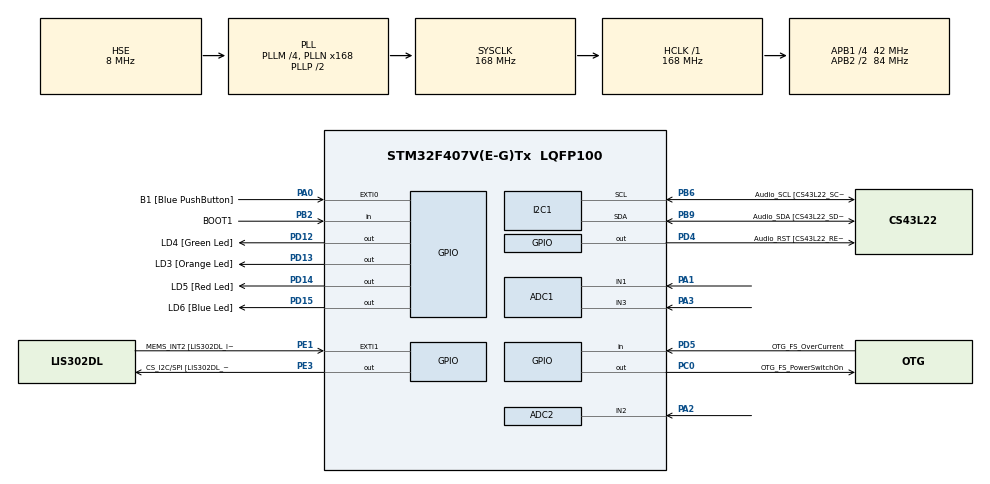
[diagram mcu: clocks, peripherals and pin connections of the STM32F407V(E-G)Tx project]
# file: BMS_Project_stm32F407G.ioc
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ADC1.Channel-0\#ChannelRegularConversion=ADC_CHANNEL_1
ADC1.ContinuousConvMode=DISABLE
ADC1.DMAAccessMode=ADC_DMAACCESSMODE_2
ADC1.DMAContinuousRequests=ENABLE
ADC1.ExternalTrigConv=ADC_EXTERNALTRIGCONV_T2_TRGO
ADC1.Mode=ADC_DUALMODE_REGSIMULT
ADC1.NbrOfConversion=1
ADC1.NbrOfConversionFlag=1
ADC1.Rank-0\#ChannelRegularConversion=1
ADC1.SamplingTime-0\#ChannelRegularConversion=ADC_SAMPLETIME_56CYCLES
ADC1.ScanConvMode=DISABLE
ADC1.master=1
ADC2.Channel-0\#ChannelRegularConversion=ADC_CHANNEL_2
ADC2.DMAAccessMode=ADC_DMAACCESSMODE_2
ADC2.Mode=ADC_DUALMODE_REGSIMULT
ADC2.NbrOfConversionFlag=1
ADC2.Rank-0\#ChannelRegularConversion=1
ADC2.SamplingTime-0\#ChannelRegularConversion=ADC_SAMPLETIME_56CYCLES
Dma.ADC1.0.Direction=DMA_PERIPH_TO_MEMORY
Dma.ADC1.0.FIFOMode=DMA_FIFOMODE_DISABLE
Dma.ADC1.0.Instance=DMA2_Stream0
Dma.ADC1.0.MemDataAlignment=DMA_MDATAALIGN_WORD
Dma.ADC1.0.MemInc=DMA_MINC_ENABLE
Dma.ADC1.0.Mode=DMA_CIRCULAR
Dma.ADC1.0.PeriphDataAlignment=DMA_PDATAALIGN_WORD
Dma.ADC1.0.PeriphInc=DMA_PINC_DISABLE
Dma.ADC1.0.Priority=DMA_PRIORITY_LOW
Dma.Request0=ADC1
I2C1.I2C_Mode=I2C_Standard
Mcu.Family=STM32F4
Mcu.Name=STM32F407V(E-G)Tx
Mcu.Package=LQFP100
NVIC.DMA2_Stream0_IRQn=true\:0\:0\:false\:false\:true\:false\:true\:true
NVIC.PriorityGroup=NVIC_PRIORITYGROUP_4
PA0-WKUP.GPIO_Label=B1 [Blue PushButton]
PA0-WKUP.Signal=GPXTI0
PA1.Signal=ADCx_IN1
PA10.GPIO_Label=OTG_FS_ID
PA10.GPIO_Mode=GPIO_MODE_AF_PP
PA10.GPIO_PuPd=GPIO_NOPULL
PA10.GPIO_Speed=GPIO_SPEED_FREQ_LOW
PA10.Signal=USB_OTG_FS_ID
PA11.GPIO_Label=OTG_FS_DM
PA11.GPIO_Mode=GPIO_MODE_AF_PP
PA11.GPIO_PuPd=GPIO_NOPULL
PA11.GPIO_Speed=GPIO_SPEED_FREQ_LOW
PA11.Signal=USB_OTG_FS_DM
PA12.GPIO_Label=OTG_FS_DP
PA12.GPIO_Mode=GPIO_MODE_AF_PP
PA12.GPIO_PuPd=GPIO_NOPULL
PA12.GPIO_Speed=GPIO_SPEED_FREQ_LOW
PA12.Signal=USB_OTG_FS_DP
PA13.GPIO_Label=SWDIO
PA13.Mode=Serial_Wire
PA13.Signal=SYS_JTMS-SWDIO
PA14.GPIO_Label=SWCLK
PA14.Mode=Serial_Wire
PA14.Signal=SYS_JTCK-SWCLK
PA2.Signal=ADCx_IN2
PA3.Signal=ADCx_IN3
PA4.GPIO_Label=I2S3_WS [CS43L22_LRCK]
PA4.GPIO_Mode=GPIO_MODE_AF_PP
PA4.GPIO_PuPd=GPIO_NOPULL
PA4.GPIO_Speed=GPIO_SPEED_FREQ_LOW
PA4.Signal=I2S3_WS
PA5.GPIO_Label=SPI1_SCK [LIS302DL_SCL/SPC]
PA5.GPIO_Mode=GPIO_MODE_AF_PP
PA5.GPIO_PuPd=GPIO_NOPULL
PA5.GPIO_Speed=GPIO_SPEED_FREQ_LOW
PA5.Signal=SPI1_SCK
PA6.GPIO_Label=SPI1_MISO [LIS302DL_SDO]
PA6.GPIO_Mode=GPIO_MODE_AF_PP
PA6.GPIO_PuPd=GPIO_NOPULL
PA6.GPIO_Speed=GPIO_SPEED_FREQ_LOW
PA6.Signal=SPI1_MISO
PA7.GPIO_Label=SPI1_MOSI [LIS302DL_SDA/SDI/SDO]
PA7.GPIO_Mode=GPIO_MODE_AF_PP
PA7.GPIO_PuPd=GPIO_NOPULL
PA7.GPIO_Speed=GPIO_SPEED_FREQ_LOW
PA7.Signal=SPI1_MOSI
PA9.GPIO_Label=VBUS_FS
PA9.GPIO_Mode=GPIO_MODE_INPUT
PA9.GPIO_PuPd=GPIO_NOPULL
PA9.Signal=USB_OTG_FS_VBUS
PB10.GPIO_Label=CLK_IN [MP45DT02_CLK]
PB10.GPIO_Mode=GPIO_MODE_AF_PP
PB10.GPIO_PuPd=GPIO_NOPULL
PB10.GPIO_Speed=GPIO_SPEED_FREQ_LOW
PB10.Signal=I2S2_CK
PB2.GPIO_Label=BOOT1
PB2.GPIO_Mode=GPIO_MODE_INPUT
PB2.GPIO_PuPd=GPIO_NOPULL
PB2.Signal=GPIO_Input
PB3.GPIO_Label=SWO
PB3.Signal=SYS_JTDO-SWO
PB6.GPIO_Label=Audio_SCL [CS43L22_SCL]
PB6.GPIO_Mode=GPIO_MODE_AF_OD
PB6.GPIO_PuPd=GPIO_NOPULL
PB6.GPIO_Speed=GPIO_SPEED_FREQ_LOW
PB6.Mode=I2C
PB6.Signal=I2C1_SCL
PB9.GPIO_Label=Audio_SDA [CS43L22_SDA]
PB9.GPIO_Mode=GPIO_MODE_AF_OD
PB9.GPIO_PuPd=GPIO_NOPULL
PB9.GPIO_Speed=GPIO_SPEED_FREQ_LOW
PB9.Mode=I2C
PB9.Signal=I2C1_SDA
PC0.GPIO_Label=OTG_FS_PowerSwitchOn
PC0.GPIO_PuPd=GPIO_NOPULL
PC0.GPIO_Speed=GPIO_SPEED_FREQ_LOW
PC0.PinState=GPIO_PIN_SET
PC0.Signal=GPIO_Output
PC10.GPIO_Label=I2S3_SCK [CS43L22_SCLK]
PC10.GPIO_Mode=GPIO_MODE_AF_PP
PC10.GPIO_PuPd=GPIO_NOPULL
PC10.GPIO_Speed=GPIO_SPEED_FREQ_LOW
PC10.Signal=I2S3_CK
PC12.GPIO_Label=I2S3_SD [CS43L22_SDIN]
PC12.GPIO_Mode=GPIO_MODE_AF_PP
PC12.GPIO_PuPd=GPIO_NOPULL
PC12.GPIO_Speed=GPIO_SPEED_FREQ_LOW
PC12.Signal=I2S3_SD
PC14-OSC32_IN.GPIO_Label=PC14-OSC32_IN
PC14-OSC32_IN.Signal=RCC_OSC32_IN
PC15-OSC32_OUT.GPIO_Label=PC15-OSC32_OUT
PC15-OSC32_OUT.Signal=RCC_OSC32_OUT
PC3.GPIO_Label=PDM_OUT [MP45DT02_DOUT]
PC3.GPIO_Mode=GPIO_MODE_AF_PP
PC3.GPIO_PuPd=GPIO_NOPULL
PC3.GPIO_Speed=GPIO_SPEED_FREQ_LOW
PC3.Signal=I2S2_SD
PC7.GPIO_Label=I2S3_MCK [CS43L22_MCLK]
PC7.GPIO_Mode=GPIO_MODE_AF_PP
PC7.GPIO_PuPd=GPIO_NOPULL
PC7.GPIO_Speed=GPIO_SPEED_FREQ_LOW
PC7.Signal=I2S3_MCK
PD12.GPIO_Label=LD4 [Green Led]
PD12.GPIO_PuPd=GPIO_NOPULL
PD12.GPIO_Speed=GPIO_SPEED_FREQ_LOW
PD12.Signal=GPIO_Output
PD13.GPIO_Label=LD3 [Orange Led]
PD13.GPIO_PuPd=GPIO_NOPULL
PD13.GPIO_Speed=GPIO_SPEED_FREQ_LOW
PD13.Signal=GPIO_Output
PD14.GPIO_Label=LD5 [Red Led]
PD14.GPIO_PuPd=GPIO_NOPULL
PD14.GPIO_Speed=GPIO_SPEED_FREQ_LOW
PD14.Signal=GPIO_Output
PD15.GPIO_Label=LD6 [Blue Led]
PD15.GPIO_PuPd=GPIO_NOPULL
PD15.GPIO_Speed=GPIO_SPEED_FREQ_LOW
PD15.Signal=GPIO_Output
PD4.GPIO_Label=Audio_RST [CS43L22_RESET]
PD4.GPIO_PuPd=GPIO_NOPULL
PD4.GPIO_Speed=GPIO_SPEED_FREQ_LOW
PD4.Signal=GPIO_Output
PD5.GPIO_Label=OTG_FS_OverCurrent
PD5.GPIO_Mode=GPIO_MODE_INPUT
PD5.GPIO_PuPd=GPIO_NOPULL
PD5.Signal=GPIO_Input
PE1.GPIO_Label=MEMS_INT2 [LIS302DL_INT2]
PE1.GPIO_ModeDefaultEXTI=GPIO_MODE_EVT_RISING
PE1.GPIO_PuPd=GPIO_NOPULL
PE1.Signal=GPXTI1
PE3.GPIO_Label=CS_I2C/SPI [LIS302DL_CS_I2C/SPI]
PE3.GPIO_PuPd=GPIO_NOPULL
PE3.GPIO_Speed=GPIO_SPEED_FREQ_LOW
PE3.Signal=GPIO_Output
PH0-OSC_IN.GPIO_Label=PH0-OSC_IN
PH0-OSC_IN.Mode=HSE-External-Oscillator
PH0-OSC_IN.Signal=RCC_OSC_IN
PH1-OSC_OUT.GPIO_Label=PH1-OSC_OUT
PH1-OSC_OUT.Mode=HSE-External-Oscillator
PH1-OSC_OUT.Signal=RCC_OSC_OUT
ProjectManager.HeapSize=0x200
ProjectManager.StackSize=0x400
ProjectManager.TargetToolchain=STM32CubeIDE
RCC.48MHZClocksFreq_Value=48000000
RCC.AHBFreq_Value=168000000
RCC.APB1CLKDivider=RCC_HCLK_DIV4
RCC.APB1Freq_Value=42000000
RCC.APB1TimFreq_Value=84000000
RCC.APB2CLKDivider=RCC_HCLK_DIV2
RCC.APB2Freq_Value=84000000
RCC.APB2TimFreq_Value=168000000
RCC.CortexFreq_Value=168000000
RCC.HCLKFreq_Value=168000000
RCC.HSE_VALUE=8000000
RCC.HSI_VALUE=16000000
RCC.LSE_VALUE=32768
RCC.PLLM=4
RCC.PLLN=168
RCC.PLLQ=7
RCC.PLLSourceVirtual=RCC_PLLSOURCE_HSE
RCC.SYSCLKFreq_VALUE=168000000
RCC.SYSCLKSource=RCC_SYSCLKSOURCE_PLLCLK
RCC.VCOOutputFreq_Value=336000000
SH.ADCx_IN1.0=ADC1_IN1,IN1
SH.ADCx_IN2.0=ADC2_IN2,IN2
SH.ADCx_IN3.0=ADC1_IN3,IN3
TIM2.Period=999
TIM2.Prescaler=8399
TIM2.TIM_MasterOutputTrigger=TIM_TRGO_UPDATE
TIM2.TIM_MasterSlaveMode=TIM_MASTERSLAVEMODE_ENABLE
VP_TIM2_VS_ClockSourceINT.Mode=Internal
board=STM32F407G-DISC1

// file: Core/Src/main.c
/* USER CODE BEGIN Header */
/**
  ******************************************************************************
  * @file           : main.c
  * @brief          : Main program body
  ******************************************************************************
  * @attention
  *
  * Copyright (c) 2025 STMicroelectronics.
  * All rights reserved.
  *
  * This software is licensed under terms that can be found in the LICENSE file
  * in the root directory of this software component.
  * If no LICENSE file comes with this software, it is provided AS-IS.
  *
  ******************************************************************************
  */
/* USER CODE END Header */
#include <processings.h>
#include "main.h"

/* USER CODE BEGIN Includes */
#include "stdio.h"
#include "oled_display.h"
#include "buzzer.h"
#include "sensing.h"
#include "bms_data.h"
#include "processings.h"
/* USER CODE END Includes */

ADC_HandleTypeDef hadc1;
ADC_HandleTypeDef hadc2;
DMA_HandleTypeDef hdma_adc1;

I2C_HandleTypeDef hi2c1;
TIM_HandleTypeDef htim2;

/* USER CODE BEGIN PV */
BatteryStatus batteryStatus = IDLE;  // Define the variable here

//conversion flags
volatile uint8_t voltage_and_current_reading_flag = 0;
volatile uint8_t temperature_update_flag = 0;

/* USER CODE END PV */

void SystemClock_Config(void);
static void MX_GPIO_Init(void);
static void MX_DMA_Init(void);
static void MX_I2C1_Init(void);
void MX_ADC1_Init(void);
static void MX_ADC2_Init(void);
static void MX_TIM2_Init(void);

int main(void)
{

  /* MCU Configuration--------------------------------------------------------*/

  /* Reset of all peripherals, Initializes the Flash interface and the Systick. */
  HAL_Init();

  /* Configure the system clock */
  SystemClock_Config();

  /* Initialize all configured peripherals */
  MX_GPIO_Init();
  MX_DMA_Init();
  MX_I2C1_Init();
  MX_ADC1_Init();
  MX_ADC2_Init();
  MX_TIM2_Init();
  /* USER CODE BEGIN 2 */
  /* Initialize bms_data structure*/
  BMS_Init();
  /* Initialize OLED and Buzzer*/
  oled_init();
  buzzer_init();

  /* Start Timer2 to trigger ADC conversions every 100ms */
  HAL_TIM_Base_Start(&htim2);

  /* Enable ADC DMA */
  HAL_ADC_Start(&hadc2);

  HAL_ADC_Start_DMA(&hadc1, dma_adc_buffer, 8);  //  Capture 8 words

  /* USER CODE END 2 */

  /* Infinite loop */
  while (1)
  {

    /* USER CODE BEGIN 3 */
	    if (voltage_and_current_reading_flag)
	    {
	        voltage_and_current_reading_flag = 0;  // Reset flag
	        process_voltage_and_current_data();
	        processing();
	        oled_display(voltage, current, BMS_Data.stateOfCharge_percent, power, temperature, BMS_Data.stateOfHealth_percent, batteryStatus, time_pack.hours, time_pack.minutes);
	    }
	    if (temperature_update_flag)
	    {
	    	temperature_update_flag = 0;
	    	reconfigure_to_temperature_channel();
	    	read_temperature();
	    	reconfigure_to_dual_mode();
	    	oled_display(voltage, current, BMS_Data.stateOfCharge_percent, power, temperature, BMS_Data.stateOfHealth_percent, batteryStatus, time_pack.hours, time_pack.minutes);
	    }
	    if (BMS_Data.fault_flag)
	    {
	    	buzzer_on();
	    }
  }
  /* USER CODE END 3 */
}

void SystemClock_Config(void)
{
  RCC_OscInitTypeDef RCC_OscInitStruct = {0};
  RCC_ClkInitTypeDef RCC_ClkInitStruct = {0};

  /** Configure the main internal regulator output voltage
  */
  __HAL_RCC_PWR_CLK_ENABLE();
  __HAL_PWR_VOLTAGESCALING_CONFIG(PWR_REGULATOR_VOLTAGE_SCALE1);

  /** Initializes the RCC Oscillators according to the specified parameters
  * in the RCC_OscInitTypeDef structure.
  */
  RCC_OscInitStruct.OscillatorType = RCC_OSCILLATORTYPE_HSE;
  RCC_OscInitStruct.HSEState = RCC_HSE_ON;
  RCC_OscInitStruct.PLL.PLLState = RCC_PLL_ON;
  RCC_OscInitStruct.PLL.PLLSource = RCC_PLLSOURCE_HSE;
  RCC_OscInitStruct.PLL.PLLM = 4;
  RCC_OscInitStruct.PLL.PLLN = 168;
  RCC_OscInitStruct.PLL.PLLP = RCC_PLLP_DIV2;
  RCC_OscInitStruct.PLL.PLLQ = 7;
  if (HAL_RCC_OscConfig(&RCC_OscInitStruct) != HAL_OK)
  {
    Error_Handler();
  }

  /** Initializes the CPU, AHB and APB buses clocks
  */
  RCC_ClkInitStruct.ClockType = RCC_CLOCKTYPE_HCLK|RCC_CLOCKTYPE_SYSCLK
                              |RCC_CLOCKTYPE_PCLK1|RCC_CLOCKTYPE_PCLK2;
  RCC_ClkInitStruct.SYSCLKSource = RCC_SYSCLKSOURCE_PLLCLK;
  RCC_ClkInitStruct.AHBCLKDivider = RCC_SYSCLK_DIV1;
  RCC_ClkInitStruct.APB1CLKDivider = RCC_HCLK_DIV4;
  RCC_ClkInitStruct.APB2CLKDivider = RCC_HCLK_DIV2;

  if (HAL_RCC_ClockConfig(&RCC_ClkInitStruct, FLASH_LATENCY_5) != HAL_OK)
  {
    Error_Handler();
  }
}

void MX_ADC1_Init(void)
{

  ADC_MultiModeTypeDef multimode = {0};
  ADC_ChannelConfTypeDef sConfig = {0};

  /** Configure the global features of the ADC (Clock, Resolution, Data Alignment and number of conversion)
  */
  hadc1.Instance = ADC1;
  hadc1.Init.ClockPrescaler = ADC_CLOCK_SYNC_PCLK_DIV4;
  hadc1.Init.Resolution = ADC_RESOLUTION_12B;
  hadc1.Init.ScanConvMode = DISABLE;
  hadc1.Init.ContinuousConvMode = DISABLE;
  hadc1.Init.DiscontinuousConvMode = DISABLE;
  hadc1.Init.ExternalTrigConvEdge = ADC_EXTERNALTRIGCONVEDGE_RISING;
  hadc1.Init.ExternalTrigConv = ADC_EXTERNALTRIGCONV_T2_TRGO;
  hadc1.Init.DataAlign = ADC_DATAALIGN_RIGHT;
  hadc1.Init.NbrOfConversion = 1;
  hadc1.Init.DMAContinuousRequests = ENABLE;
  hadc1.Init.EOCSelection = ADC_EOC_SINGLE_CONV;
  if (HAL_ADC_Init(&hadc1) != HAL_OK)
  {
    Error_Handler();
  }

  /** Configure the ADC multi-mode
  */
  multimode.Mode = ADC_DUALMODE_REGSIMULT;
  multimode.DMAAccessMode = ADC_DMAACCESSMODE_2;
  multimode.TwoSamplingDelay = ADC_TWOSAMPLINGDELAY_5CYCLES;
  if (HAL_ADCEx_MultiModeConfigChannel(&hadc1, &multimode) != HAL_OK)
  {
    Error_Handler();
  }

  /** Configure for the selected ADC regular channel its corresponding rank in the sequencer and its sample time.
  */
  sConfig.Channel = ADC_CHANNEL_1;
  sConfig.Rank = 1;
  sConfig.SamplingTime = ADC_SAMPLETIME_56CYCLES;
  if (HAL_ADC_ConfigChannel(&hadc1, &sConfig) != HAL_OK)
  {
    Error_Handler();
  }

}

static void MX_ADC2_Init(void)
{

  ADC_ChannelConfTypeDef sConfig = {0};

  /** Configure the global features of the ADC (Clock, Resolution, Data Alignment and number of conversion)
  */
  hadc2.Instance = ADC2;
  hadc2.Init.ClockPrescaler = ADC_CLOCK_SYNC_PCLK_DIV4;
  hadc2.Init.Resolution = ADC_RESOLUTION_12B;
  hadc2.Init.ScanConvMode = DISABLE;
  hadc2.Init.ContinuousConvMode = DISABLE;
  hadc2.Init.DiscontinuousConvMode = DISABLE;
  hadc2.Init.DataAlign = ADC_DATAALIGN_RIGHT;
  hadc2.Init.NbrOfConversion = 1;
  hadc2.Init.DMAContinuousRequests = DISABLE;
  hadc2.Init.EOCSelection = ADC_EOC_SINGLE_CONV;
  if (HAL_ADC_Init(&hadc2) != HAL_OK)
  {
    Error_Handler();
  }

  /** Configure for the selected ADC regular channel its corresponding rank in the sequencer and its sample time.
  */
  sConfig.Channel = ADC_CHANNEL_2;
  sConfig.Rank = 1;
  sConfig.SamplingTime = ADC_SAMPLETIME_56CYCLES;
  if (HAL_ADC_ConfigChannel(&hadc2, &sConfig) != HAL_OK)
  {
    Error_Handler();
  }
  /* USER CODE BEGIN ADC2_Init 2 */

  // Step 2: Start ADC2 in normal mode before enabling ADC1 dual mode

  /* USER CODE END ADC2_Init 2 */

}

static void MX_I2C1_Init(void)
{

  hi2c1.Instance = I2C1;
  hi2c1.Init.ClockSpeed = 100000;
  hi2c1.Init.DutyCycle = I2C_DUTYCYCLE_2;
  hi2c1.Init.OwnAddress1 = 0;
  hi2c1.Init.AddressingMode = I2C_ADDRESSINGMODE_7BIT;
  hi2c1.Init.DualAddressMode = I2C_DUALADDRESS_DISABLE;
  hi2c1.Init.OwnAddress2 = 0;
  hi2c1.Init.GeneralCallMode = I2C_GENERALCALL_DISABLE;
  hi2c1.Init.NoStretchMode = I2C_NOSTRETCH_DISABLE;
  if (HAL_I2C_Init(&hi2c1) != HAL_OK)
  {
    Error_Handler();
  }

}

static void MX_TIM2_Init(void)
{

  TIM_ClockConfigTypeDef sClockSourceConfig = {0};
  TIM_MasterConfigTypeDef sMasterConfig = {0};

  htim2.Instance = TIM2;
  htim2.Init.Prescaler = 8399;
  htim2.Init.CounterMode = TIM_COUNTERMODE_UP;
  htim2.Init.Period = 999;
  htim2.Init.ClockDivision = TIM_CLOCKDIVISION_DIV1;
  htim2.Init.AutoReloadPreload = TIM_AUTORELOAD_PRELOAD_DISABLE;
  if (HAL_TIM_Base_Init(&htim2) != HAL_OK)
  {
    Error_Handler();
  }
  sClockSourceConfig.ClockSource = TIM_CLOCKSOURCE_INTERNAL;
  if (HAL_TIM_ConfigClockSource(&htim2, &sClockSourceConfig) != HAL_OK)
  {
    Error_Handler();
  }
  sMasterConfig.MasterOutputTrigger = TIM_TRGO_UPDATE;
  sMasterConfig.MasterSlaveMode = TIM_MASTERSLAVEMODE_ENABLE;
  if (HAL_TIMEx_MasterConfigSynchronization(&htim2, &sMasterConfig) != HAL_OK)
  {
    Error_Handler();
  }

}

static void MX_DMA_Init(void)
{

  /* DMA controller clock enable */
  __HAL_RCC_DMA2_CLK_ENABLE();

  /* DMA interrupt init */
  /* DMA2_Stream0_IRQn interrupt configuration */
  HAL_NVIC_SetPriority(DMA2_Stream0_IRQn, 0, 0);
  HAL_NVIC_EnableIRQ(DMA2_Stream0_IRQn);

}

static void MX_GPIO_Init(void)
{
  GPIO_InitTypeDef GPIO_InitStruct = {0};

  /* GPIO Ports Clock Enable */
  __HAL_RCC_GPIOE_CLK_ENABLE();
  __HAL_RCC_GPIOC_CLK_ENABLE();
  __HAL_RCC_GPIOH_CLK_ENABLE();
  __HAL_RCC_GPIOA_CLK_ENABLE();
  __HAL_RCC_GPIOB_CLK_ENABLE();
  __HAL_RCC_GPIOD_CLK_ENABLE();

  /*Configure GPIO pin Output Level */
  HAL_GPIO_WritePin(CS_I2C_SPI_GPIO_Port, CS_I2C_SPI_Pin, GPIO_PIN_RESET);

  /*Configure GPIO pin Output Level */
  HAL_GPIO_WritePin(OTG_FS_PowerSwitchOn_GPIO_Port, OTG_FS_PowerSwitchOn_Pin, GPIO_PIN_SET);

  /*Configure GPIO pin Output Level */
  HAL_GPIO_WritePin(GPIOD, LD4_Pin|LD3_Pin|LD5_Pin|LD6_Pin
                          |Audio_RST_Pin, GPIO_PIN_RESET);

  /*Configure GPIO pin : CS_I2C_SPI_Pin */
  GPIO_InitStruct.Pin = CS_I2C_SPI_Pin;
  GPIO_InitStruct.Mode = GPIO_MODE_OUTPUT_PP;
  GPIO_InitStruct.Pull = GPIO_NOPULL;
  GPIO_InitStruct.Speed = GPIO_SPEED_FREQ_LOW;
  HAL_GPIO_Init(CS_I2C_SPI_GPIO_Port, &GPIO_InitStruct);

  /*Configure GPIO pin : OTG_FS_PowerSwitchOn_Pin */
  GPIO_InitStruct.Pin = OTG_FS_PowerSwitchOn_Pin;
  GPIO_InitStruct.Mode = GPIO_MODE_OUTPUT_PP;
  GPIO_InitStruct.Pull = GPIO_NOPULL;
  GPIO_InitStruct.Speed = GPIO_SPEED_FREQ_LOW;
  HAL_GPIO_Init(OTG_FS_PowerSwitchOn_GPIO_Port, &GPIO_InitStruct);

  /*Configure GPIO pin : PDM_OUT_Pin */
  GPIO_InitStruct.Pin = PDM_OUT_Pin;
  GPIO_InitStruct.Mode = GPIO_MODE_AF_PP;
  GPIO_InitStruct.Pull = GPIO_NOPULL;
  GPIO_InitStruct.Speed = GPIO_SPEED_FREQ_LOW;
  GPIO_InitStruct.Alternate = GPIO_AF5_SPI2;
  HAL_GPIO_Init(PDM_OUT_GPIO_Port, &GPIO_InitStruct);

  /*Configure GPIO pin : B1_Pin */
  GPIO_InitStruct.Pin = B1_Pin;
  GPIO_InitStruct.Mode = GPIO_MODE_IT_RISING;
  GPIO_InitStruct.Pull = GPIO_NOPULL;
  HAL_GPIO_Init(B1_GPIO_Port, &GPIO_InitStruct);

  /*Configure GPIO pin : I2S3_WS_Pin */
  GPIO_InitStruct.Pin = I2S3_WS_Pin;
  GPIO_InitStruct.Mode = GPIO_MODE_AF_PP;
  GPIO_InitStruct.Pull = GPIO_NOPULL;
  GPIO_InitStruct.Speed = GPIO_SPEED_FREQ_LOW;
  GPIO_InitStruct.Alternate = GPIO_AF6_SPI3;
  HAL_GPIO_Init(I2S3_WS_GPIO_Port, &GPIO_InitStruct);

  /*Configure GPIO pins : SPI1_SCK_Pin SPI1_MISO_Pin SPI1_MOSI_Pin */
  GPIO_InitStruct.Pin = SPI1_SCK_Pin|SPI1_MISO_Pin|SPI1_MOSI_Pin;
  GPIO_InitStruct.Mode = GPIO_MODE_AF_PP;
  GPIO_InitStruct.Pull = GPIO_NOPULL;
  GPIO_InitStruct.Speed = GPIO_SPEED_FREQ_LOW;
  GPIO_InitStruct.Alternate = GPIO_AF5_SPI1;
  HAL_GPIO_Init(GPIOA, &GPIO_InitStruct);

  /*Configure GPIO pin : BOOT1_Pin */
  GPIO_InitStruct.Pin = BOOT1_Pin;
  GPIO_InitStruct.Mode = GPIO_MODE_INPUT;
  GPIO_InitStruct.Pull = GPIO_NOPULL;
  HAL_GPIO_Init(BOOT1_GPIO_Port, &GPIO_InitStruct);

  /*Configure GPIO pin : CLK_IN_Pin */
  GPIO_InitStruct.Pin = CLK_IN_Pin;
  GPIO_InitStruct.Mode = GPIO_MODE_AF_PP;
  GPIO_InitStruct.Pull = GPIO_NOPULL;
  GPIO_InitStruct.Speed = GPIO_SPEED_FREQ_LOW;
  GPIO_InitStruct.Alternate = GPIO_AF5_SPI2;
  HAL_GPIO_Init(CLK_IN_GPIO_Port, &GPIO_InitStruct);

  /*Configure GPIO pins : LD4_Pin LD3_Pin LD5_Pin LD6_Pin
                           Audio_RST_Pin */
  GPIO_InitStruct.Pin = LD4_Pin|LD3_Pin|LD5_Pin|LD6_Pin
                          |Audio_RST_Pin;
  GPIO_InitStruct.Mode = GPIO_MODE_OUTPUT_PP;
  GPIO_InitStruct.Pull = GPIO_NOPULL;
  GPIO_InitStruct.Speed = GPIO_SPEED_FREQ_LOW;
  HAL_GPIO_Init(GPIOD, &GPIO_InitStruct);

  /*Configure GPIO pins : I2S3_MCK_Pin I2S3_SCK_Pin I2S3_SD_Pin */
  GPIO_InitStruct.Pin = I2S3_MCK_Pin|I2S3_SCK_Pin|I2S3_SD_Pin;
  GPIO_InitStruct.Mode = GPIO_MODE_AF_PP;
  GPIO_InitStruct.Pull = GPIO_NOPULL;
  GPIO_InitStruct.Speed = GPIO_SPEED_FREQ_LOW;
  GPIO_InitStruct.Alternate = GPIO_AF6_SPI3;
  HAL_GPIO_Init(GPIOC, &GPIO_InitStruct);

  /*Configure GPIO pin : VBUS_FS_Pin */
  GPIO_InitStruct.Pin = VBUS_FS_Pin;
  GPIO_InitStruct.Mode = GPIO_MODE_INPUT;
  GPIO_InitStruct.Pull = GPIO_NOPULL;
  HAL_GPIO_Init(VBUS_FS_GPIO_Port, &GPIO_InitStruct);

  /*Configure GPIO pins : OTG_FS_ID_Pin OTG_FS_DM_Pin OTG_FS_DP_Pin */
  GPIO_InitStruct.Pin = OTG_FS_ID_Pin|OTG_FS_DM_Pin|OTG_FS_DP_Pin;
  GPIO_InitStruct.Mode = GPIO_MODE_AF_PP;
  GPIO_InitStruct.Pull = GPIO_NOPULL;
  GPIO_InitStruct.Speed = GPIO_SPEED_FREQ_LOW;
  GPIO_InitStruct.Alternate = GPIO_AF10_OTG_FS;
  HAL_GPIO_Init(GPIOA, &GPIO_InitStruct);

  /*Configure GPIO pin : OTG_FS_OverCurrent_Pin */
  GPIO_InitStruct.Pin = OTG_FS_OverCurrent_Pin;
  GPIO_InitStruct.Mode = GPIO_MODE_INPUT;
  GPIO_InitStruct.Pull = GPIO_NOPULL;
  HAL_GPIO_Init(OTG_FS_OverCurrent_GPIO_Port, &GPIO_InitStruct);

  /*Configure GPIO pin : MEMS_INT2_Pin */
  GPIO_InitStruct.Pin = MEMS_INT2_Pin;
  GPIO_InitStruct.Mode = GPIO_MODE_EVT_RISING;
  GPIO_InitStruct.Pull = GPIO_NOPULL;
  HAL_GPIO_Init(MEMS_INT2_GPIO_Port, &GPIO_InitStruct);

}

void Error_Handler(void)
{
  __disable_irq();
  while (1)
  {
  }
}
